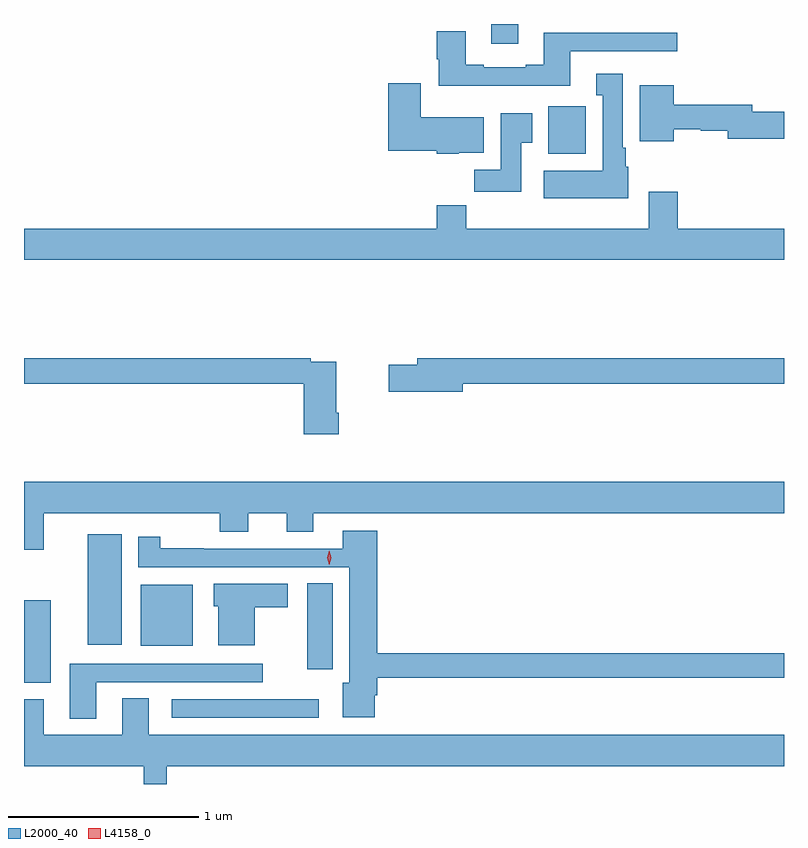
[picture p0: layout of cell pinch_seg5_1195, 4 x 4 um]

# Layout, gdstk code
import gdstk
lib = gdstk.Library(unit=1e-6, precision=1e-09)
def R(c, l, rs):  # rectangles x0, y0, x1, y1
    for r in rs: c.add(gdstk.rectangle(r[:2], r[2:], *l))
def P(c, l, *ps):  # polygons
    for p in ps: c.add(gdstk.Polygon(p, *l))
L2000_40 = (2000, 40)
L4158_0 = (4158, 0)

pinch_seg5_1195 = lib.new_cell('pinch_seg5_1195')
R(pinch_seg5_1195, L2000_40, [(471.219,904.968,471.991,905.064), (470.441,905.15,470.581,905.584), (471.932,905.223,472.066,905.675), (471.056,905.345,471.328,905.668), (470.777,905.351,470.956,905.932), (473.201,907.934,473.397,908.185), (472.901,908.514,473.041,908.618)])
P(pinch_seg5_1195, L2000_40, [(473.317,908.475),(473.878,908.475),(473.878,908.572),(473.177,908.572),(473.177,908.404),(473.081,908.404),(473.081,908.391),(472.861,908.391),(472.861,908.404),(472.765,908.404),(472.765,908.581),(472.613,908.581),(472.613,908.433),(472.625,908.433),(472.625,908.294),(473.317,908.294)],
  [(473.62,907.866),(473.608,907.866),(473.608,907.966),(473.593,907.966),(473.593,908.356),(473.453,908.356),(473.453,908.243),(473.486,908.243),(473.486,907.846),(473.177,907.846),(473.177,907.7),(473.62,907.7)],
  [(472.728,907.94),(472.861,907.94),(472.861,908.128),(472.528,908.128),(472.528,908.305),(472.358,908.305),(472.358,907.952),(472.614,907.952),(472.614,907.934),(472.728,907.934)],
  [(473.86,908.064),(474.003,908.064),(474.003,908.056),(474.146,908.056),(474.146,908.014),(474.441,908.014),(474.441,908.156),(474.274,908.156),(474.274,908.192),(473.86,908.192),(473.86,908.296),(473.681,908.296),(473.681,908),(473.86,908)],
  [(473.059,907.993),(473.116,907.993),(473.116,908.149),(472.949,908.149),(472.949,907.852),(472.81,907.852),(472.81,907.734),(473.059,907.734)],
  [(474.441,907.54),(473.882,907.54),(473.882,907.735),(473.729,907.735),(473.729,907.54),(472.769,907.54),(472.769,907.664),(472.613,907.664),(472.613,907.54),(470.441,907.54),(470.441,907.376),(474.441,907.376)],
  [(472.097,906.571),(472.084,906.571),(472.084,906.84),(471.95,906.84),(471.95,906.86),(470.441,906.86),(470.441,906.724),(471.914,906.724),(471.914,906.459),(472.097,906.459)],
  [(472.75,906.724),(474.441,906.724),(474.441,906.86),(472.511,906.86),(472.511,906.824),(472.362,906.824),(472.362,906.682),(472.75,906.682)],
  [(470.545,906.044),(471.47,906.044),(471.47,905.945),(471.622,905.945),(471.622,906.044),(471.824,906.044),(471.824,905.945),(471.964,905.945),(471.964,906.044),(474.441,906.044),(474.441,906.208),(470.441,906.208),(470.441,905.85),(470.545,905.85)],
  [(472.288,905.084),(472.301,905.084),(472.301,905.178),(474.441,905.178),(474.441,905.306),(472.301,905.306),(472.301,905.95),(472.118,905.95),(472.118,905.856),(471.386,905.856),(471.386,905.858),(471.159,905.858),(471.159,905.92),(471.041,905.92),(471.041,905.76),(472.154,905.76),(472.154,905.152),(472.118,905.152),(472.118,904.97),(472.288,904.97)],
  [(471.655,905.549),(471.829,905.549),(471.829,905.671),(471.44,905.671),(471.44,905.553),(471.464,905.553),(471.464,905.348),(471.655,905.348)],
  [(470.821,905.154),(471.697,905.154),(471.697,905.25),(470.681,905.25),(470.681,904.962),(470.821,904.962)],
  [(471.193,904.712),(474.441,904.712),(474.441,904.876),(471.097,904.876),(471.097,905.069),(470.957,905.069),(470.957,904.876),(470.545,904.876),(470.545,905.065),(470.441,905.065),(470.441,904.712),(471.072,904.712),(471.072,904.618),(471.193,904.618)])
P(pinch_seg5_1195, L4158_0, [(472.048,905.773),(472.048,905.773),(472.038,905.809),(472.047,905.845),(472.047,905.845),(472.047,905.845),(472.058,905.809),(472.048,905.773)])

lib.write_gds('pinch_seg5_1195.gds')
